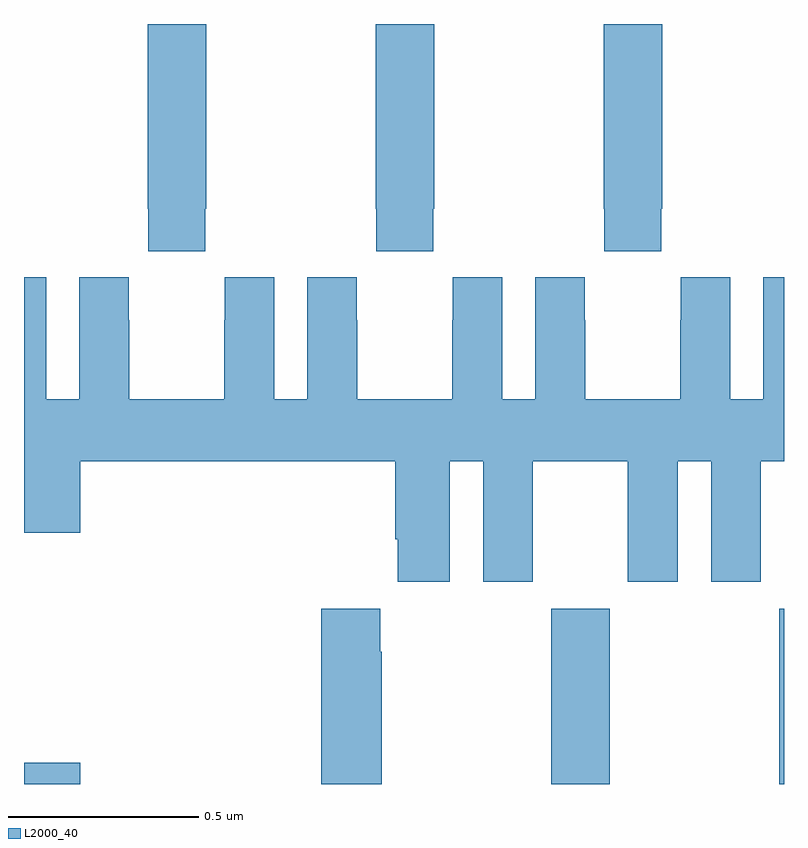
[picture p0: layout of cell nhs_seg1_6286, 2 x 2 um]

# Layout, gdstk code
import gdstk
lib = gdstk.Library(unit=1e-6, precision=1e-09)
def R(c, l, rs):  # rectangles x0, y0, x1, y1
    for r in rs: c.add(gdstk.rectangle(r[:2], r[2:], *l))
def P(c, l, *ps):  # polygons
    for p in ps: c.add(gdstk.Polygon(p, *l))
L2000_40 = (2000, 40)

nhs_seg1_6286 = lib.new_cell('nhs_seg1_6286')
R(nhs_seg1_6286, L2000_40, [(189,568.199,189.148,568.255), (190.387,568.199,190.542,568.66), (190.987,568.199,191,568.66)])
P(nhs_seg1_6286, L2000_40, [(190.677,569.713),(190.68,569.713),(190.68,570.199),(190.525,570.199),(190.525,569.713),(190.527,569.713),(190.527,569.601),(190.677,569.601)],
  [(190.077,569.713),(190.08,569.713),(190.08,570.199),(189.925,570.199),(189.925,569.713),(189.927,569.713),(189.927,569.601),(190.077,569.601)],
  [(189.477,569.713),(189.48,569.713),(189.48,570.199),(189.325,570.199),(189.325,569.713),(189.327,569.713),(189.327,569.601),(189.477,569.601)],
  [(190.12,569.048),(190.208,569.048),(190.208,568.731),(190.339,568.731),(190.339,569.048),(190.589,569.048),(190.589,568.731),(190.72,568.731),(190.72,569.048),(190.808,569.048),(190.808,568.731),(190.939,568.731),(190.939,569.048),(191,569.048),(191,569.533),(190.946,569.533),(190.946,569.212),(190.858,569.212),(190.858,569.533),(190.728,569.533),(190.728,569.42),(190.727,569.42),(190.727,569.212),(190.477,569.212),(190.477,569.42),(190.476,569.42),(190.476,569.533),(190.346,569.533),(190.346,569.212),(190.258,569.212),(190.258,569.533),(190.128,569.533),(190.128,569.42),(190.127,569.42),(190.127,569.212),(189.877,569.212),(189.877,569.42),(189.876,569.42),(189.876,569.533),(189.746,569.533),(189.746,569.212),(189.658,569.212),(189.658,569.533),(189.528,569.533),(189.528,569.42),(189.527,569.42),(189.527,569.212),(189.277,569.212),(189.277,569.42),(189.276,569.42),(189.276,569.533),(189.146,569.533),(189.146,569.212),(189.058,569.212),(189.058,569.533),(189,569.533),(189,568.86),(189.148,568.86),(189.148,569.048),(189.977,569.048),(189.977,568.843),(189.983,568.843),(189.983,568.731),(190.12,568.731)],
  [(189.942,568.547),(189.937,568.547),(189.937,568.66),(189.782,568.66),(189.782,568.199),(189.942,568.199)])

lib.write_gds('nhs_seg1_6286.gds')
